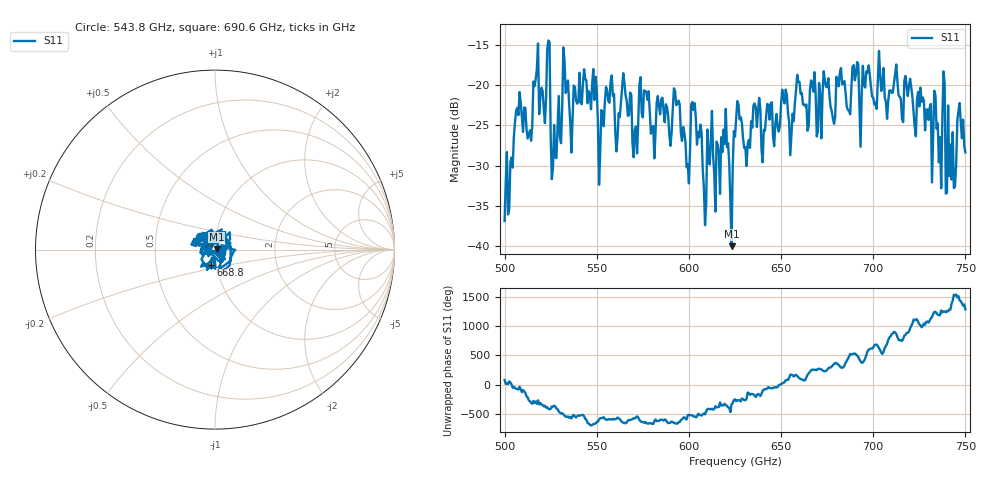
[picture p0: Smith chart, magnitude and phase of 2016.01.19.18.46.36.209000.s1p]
!Created with skrf (http://scikit-rf.org).
# GHz S RI R 50.0
!freq ReS11 ImS11
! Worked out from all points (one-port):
!   401 points, 500 GHz to 750 GHz, reference 50 ohm
!   lowest |S11| = -40.1 dB at 623.1 GHz (marker M1), VSWR 1.02, Z = 50.9 + j0.38 ohm
!   |S11| at or under -10 dB: start of sweep to end of sweep
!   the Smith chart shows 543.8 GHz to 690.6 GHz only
!   S11 on the Smith chart (normalised r, x): 543.8 GHz: 0.84, +0.12; 668.8 GHz: 0.94, -0.16; 690.6 GHz: 0.80, +0.08
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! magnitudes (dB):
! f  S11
! 500 GHz  -36.9
! 507.5 GHz  -23.7
! 513.8 GHz  -25.6
! 516.9 GHz  -19.2
! 523.8 GHz  -14.4
! 526.9 GHz  -24.9
! 531.2 GHz  -22.7
! 543.8 GHz  -19.2
! 551.9 GHz  -28.3
! 556.9 GHz  -22.2
! 562.5 GHz  -23.9
! 570.6 GHz  -25.6
! 593.8 GHz  -22.3
! 599.4 GHz  -29.9
! 602.5 GHz  -23.1
! 608.1 GHz  -32.8
! 618.8 GHz  -25.5
! 623.1 GHz  -40.1
! 625 GHz  -26.4
! 656.2 GHz  -23.5
! 659.4 GHz  -19.6
! 668.8 GHz  -21.0
! 687.5 GHz  -23.6
! 690.6 GHz  -18.6
! 718.8 GHz  -21.3
! 743.8 GHz  -32.8
! 746.9 GHz  -22.2
! 750 GHz  -28.4
